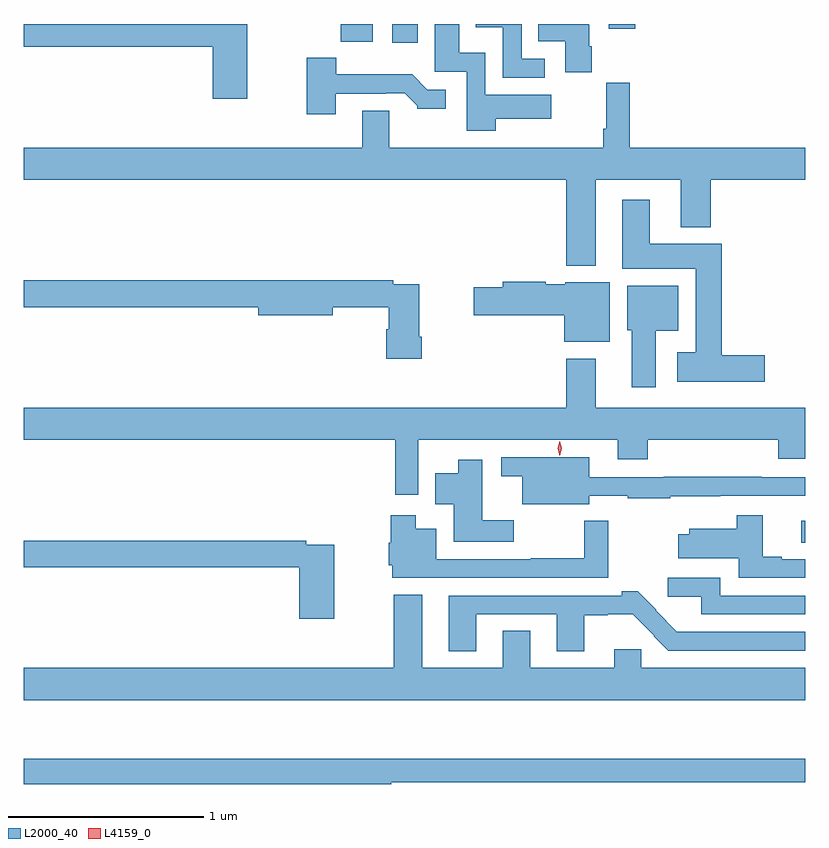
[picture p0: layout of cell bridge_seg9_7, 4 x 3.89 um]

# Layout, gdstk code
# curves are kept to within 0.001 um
import gdstk
lib = gdstk.Library(unit=1e-6, precision=1e-09)
def R(c, l, rs):  # rectangles x0, y0, x1, y1
    for r in rs: c.add(gdstk.rectangle(r[:2], r[2:], *l))
def P(c, l, *ps):  # polygons
    for p in ps: c.add(gdstk.Polygon(p, *l))
L2000_40 = (2000, 40)
L4159_0 = (4159, 0)

bridge_seg9_7 = lib.new_cell('bridge_seg9_7')
R(bridge_seg9_7, L2000_40, [(1032.591,1239.85,1032.611,1239.963), (1030.496,1242.408,1030.627,1242.505), (1030.234,1242.413,1030.396,1242.505), (1031.606,1242.48,1031.741,1242.505)])
P(bridge_seg9_7, L2000_40, [(1031.027,1242.02),(1031.311,1242.02),(1031.311,1242.142),(1030.974,1242.142),(1030.974,1242.358),(1030.84,1242.358),(1030.84,1242.505),(1030.715,1242.505),(1030.715,1242.261),(1030.878,1242.261),(1030.878,1241.958),(1031.027,1241.958)],
  [(1031.519,1242.392),(1031.506,1242.392),(1031.506,1242.502),(1031.503,1242.505),(1031.245,1242.505),(1031.245,1242.416),(1031.384,1242.416),(1031.384,1242.258),(1031.519,1242.258)],
  [(1031.278,1242.327),(1031.16,1242.327),(1031.16,1242.505),(1030.925,1242.505),(1030.925,1242.488),(1031.064,1242.488),(1031.064,1242.231),(1031.278,1242.231)],
  [(1029.756,1242.504),(1029.614,1242.504),(1029.614,1242.505),(1028.611,1242.505),(1028.611,1242.388),(1029.578,1242.388),(1029.578,1242.123),(1029.756,1242.123)],
  [(1030.207,1242.147),(1030.463,1242.147),(1030.463,1242.15),(1030.562,1242.15),(1030.626,1242.086),(1030.626,1242.071),(1030.771,1242.071),(1030.771,1242.168),(1030.677,1242.168),(1030.599,1242.247),(1030.21,1242.247),(1030.21,1242.331),(1030.06,1242.331),(1030.06,1242.042),(1030.207,1242.042)],
  [(1030.483,1242.062),(1030.343,1242.062),(1030.343,1241.872),(1028.611,1241.872),(1028.611,1241.708),(1031.387,1241.708),(1031.387,1241.267),(1031.539,1241.267),(1031.539,1241.708),(1031.975,1241.708),(1031.975,1241.465),(1032.128,1241.465),(1032.128,1241.708),(1032.611,1241.708),(1032.611,1241.872),(1031.714,1241.872),(1031.714,1242.205),(1031.593,1242.205),(1031.593,1241.968),(1031.578,1241.968),(1031.578,1241.872),(1030.483,1241.872)],
  [(1032.403,1240.808),(1032.185,1240.808),(1032.185,1241.38),(1031.815,1241.38),(1031.815,1241.605),(1031.675,1241.605),(1031.675,1241.252),(1032.05,1241.252),(1032.05,1240.825),(1031.955,1240.825),(1031.955,1240.673),(1032.403,1240.673)],
  [(1030.649,1240.903),(1030.636,1240.903),(1030.636,1241.172),(1030.502,1241.172),(1030.502,1241.192),(1028.611,1241.192),(1028.611,1241.056),(1029.812,1241.056),(1029.812,1241.014),(1030.192,1241.014),(1030.192,1241.056),(1030.478,1241.056),(1030.478,1240.941),(1030.466,1240.941),(1030.466,1240.791),(1030.649,1240.791)],
  [(1031.611,1241.182),(1031.382,1241.182),(1031.382,1241.173),(1031.282,1241.173),(1031.282,1241.186),(1031.063,1241.186),(1031.063,1241.156),(1030.914,1241.156),(1030.914,1241.014),(1031.378,1241.014),(1031.378,1240.877),(1031.611,1240.877)],
  [(1031.845,1240.934),(1031.962,1240.934),(1031.962,1241.164),(1031.699,1241.164),(1031.699,1240.938),(1031.723,1240.938),(1031.723,1240.644),(1031.845,1240.644)],
  [(1030.631,1240.376),(1031.651,1240.376),(1031.651,1240.277),(1031.804,1240.277),(1031.804,1240.376),(1032.473,1240.376),(1032.473,1240.278),(1032.611,1240.278),(1032.611,1240.54),(1031.539,1240.54),(1031.539,1240.792),(1031.387,1240.792),(1031.387,1240.54),(1028.611,1240.54),(1028.611,1240.376),(1030.513,1240.376),(1030.513,1240.095),(1030.631,1240.095)],
  [(1031.506,1240.089),(1031.702,1240.089),(1031.702,1240.077),(1031.921,1240.077),(1031.921,1240.088),(1032.176,1240.088),(1032.176,1240.089),(1032.611,1240.089),(1032.611,1240.185),(1032.389,1240.185),(1032.389,1240.187),(1031.887,1240.187),(1031.887,1240.185),(1031.506,1240.185),(1031.506,1240.288),(1031.055,1240.288),(1031.055,1240.189),(1031.162,1240.189),(1031.162,1240.046),(1031.506,1240.046)],
  [(1031.119,1239.964),(1030.957,1239.964),(1030.957,1240.273),(1030.835,1240.273),(1030.835,1240.204),(1030.718,1240.204),(1030.718,1240.046),(1030.811,1240.046),(1030.811,1239.854),(1031.119,1239.854)],
  [(1032.611,1239.765),(1032.49,1239.765),(1032.49,1239.778),(1032.394,1239.778),(1032.394,1239.991),(1032.26,1239.991),(1032.26,1239.922),(1032.017,1239.922),(1032.017,1239.892),(1031.961,1239.892),(1031.961,1239.77),(1032.272,1239.77),(1032.272,1239.669),(1032.611,1239.669)],
  [(1031.602,1239.961),(1031.481,1239.961),(1031.481,1239.77),(1031.206,1239.77),(1031.206,1239.765),(1030.723,1239.765),(1030.723,1239.922),(1030.618,1239.922),(1030.618,1239.991),(1030.489,1239.991),(1030.489,1239.849),(1030.478,1239.849),(1030.478,1239.735),(1030.496,1239.735),(1030.496,1239.669),(1031.602,1239.669)],
  [(1030.2,1239.84),(1030.058,1239.84),(1030.058,1239.86),(1028.611,1239.86),(1028.611,1239.724),(1030.022,1239.724),(1030.022,1239.459),(1030.2,1239.459)],
  [(1032.611,1239.579),(1032.177,1239.579),(1032.177,1239.669),(1031.907,1239.669),(1031.907,1239.573),(1032.08,1239.573),(1032.08,1239.483),(1032.611,1239.483)],
  [(1030.927,1239.483),(1031.339,1239.483),(1031.339,1239.294),(1031.479,1239.294),(1031.479,1239.478),(1031.6,1239.478),(1031.6,1239.482),(1031.728,1239.482),(1031.838,1239.372),(1031.836,1239.37),(1031.909,1239.297),(1032.611,1239.297),(1032.611,1239.393),(1031.954,1239.394),(1031.846,1239.503),(1031.848,1239.505),(1031.753,1239.601),(1031.672,1239.601),(1031.672,1239.579),(1030.787,1239.579),(1030.787,1239.294),(1030.927,1239.294)],
  [(1032.611,1239.208),(1031.772,1239.208),(1031.772,1239.304),(1031.633,1239.304),(1031.633,1239.208),(1031.203,1239.208),(1031.203,1239.398),(1031.063,1239.398),(1031.063,1239.208),(1030.651,1239.208),(1030.651,1239.583),(1030.504,1239.583),(1030.504,1239.208),(1028.611,1239.208),(1028.611,1239.044),(1032.611,1239.044)],
  [(1030.492,1238.622),(1032.611,1238.622),(1032.611,1238.743),(1028.611,1238.743),(1028.611,1238.614),(1030.492,1238.614)])
P(bridge_seg9_7, L4159_0, [(1031.355,1240.295),(1031.355,1240.295),(1031.345,1240.332),(1031.355,1240.37),(1031.355,1240.37),(1031.355,1240.37),(1031.365,1240.332),(1031.355,1240.295)])

lib.write_gds('bridge_seg9_7.gds')
